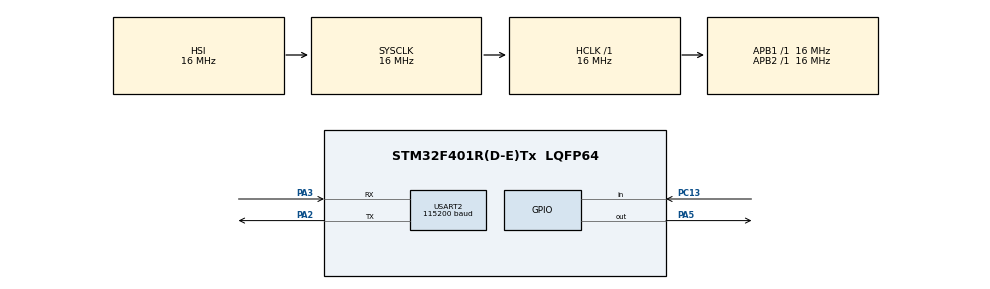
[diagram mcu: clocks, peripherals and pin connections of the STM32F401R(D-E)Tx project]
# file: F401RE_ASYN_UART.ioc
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FREERTOS.Queues01=messageQueue,30,queueMess_t,0,Dynamic,NULL,NULL
FREERTOS.Tasks01=receiveData,24,128,StartreceiveDataTask,Default,NULL,Dynamic,NULL,NULL;parseData,8,128,StartParseDataTask,Default,NULL,Dynamic,NULL,NULL;ledControl,8,128,StartledControl,Default,NULL,Dynamic,NULL,NULL
FREERTOS.configUSE_NEWLIB_REENTRANT=1
Mcu.Family=STM32F4
Mcu.Name=STM32F401R(D-E)Tx
Mcu.Package=LQFP64
NVIC.PriorityGroup=NVIC_PRIORITYGROUP_4
PA2.Mode=Asynchronous
PA2.Signal=USART2_TX
PA3.Mode=Asynchronous
PA3.Signal=USART2_RX
PA5.Signal=GPIO_Output
PC13-ANTI_TAMP.Signal=GPIO_Input
ProjectManager.HeapSize=0x200
ProjectManager.StackSize=0x400
ProjectManager.TargetToolchain=STM32CubeIDE
RCC.AHBFreq_Value=16000000
RCC.APB1Freq_Value=16000000
RCC.APB2Freq_Value=16000000
RCC.CortexFreq_Value=16000000
RCC.HSE_VALUE=25000000
RCC.HSI_VALUE=16000000
RCC.LSE_VALUE=32768
RCC.SYSCLKFreq_VALUE=16000000
RCC.VCOOutputFreq_Value=192000000
USART2.BaudRate=115200
USART2.OverSampling=UART_OVERSAMPLING_16
USART2.VirtualMode=VM_ASYNC
VP_FREERTOS_VS_CMSIS_V2.Mode=CMSIS_V2
board=custom

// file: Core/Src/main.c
/* USER CODE BEGIN Header */
/**
  ******************************************************************************
  * @file           : main.c
  * @brief          : Main program body
  ******************************************************************************
  * @attention
  *
  * Copyright (c) 2025 STMicroelectronics.
  * All rights reserved.
  *
  * This software is licensed under terms that can be found in the LICENSE file
  * in the root directory of this software component.
  * If no LICENSE file comes with this software, it is provided AS-IS.
  *
  ******************************************************************************
  */
/* USER CODE END Header */
#include "main.h"
#include "cmsis_os.h"

/* USER CODE BEGIN Includes */
#include "string.h"
#include "stdlib.h"
/* USER CODE END Includes */

/* USER CODE BEGIN PTD */

typedef uint8_t		bool;
typedef uint32_t	blinkInterval;

typedef struct {
	bool			isOn;
	blinkInterval	blinkInt;
} ledStatus_t;

typedef struct {
	uint8_t	 messg[256];
	uint16_t len;
} queueMess_t;

/* USER CODE END PTD */

/* USER CODE BEGIN PD */

#define TX_TIMEOUT   	50
#define RX_TIMEOUT   	500
#define QUEUE_TIMEOUT	50
#define MSSG_LENGTHS 	256

char* name = 		"\n\n\r ___      _______  ______     _______  ___      ___   __    _  ___   _  _______  ______   \n\r"
					"|   |    |       ||      |   |  _    ||   |    |   | |  |  | ||   | | ||       ||    _ |  \n\r"
					"|   |    |    ___||  _    |  | |_|   ||   |    |   | |   |_| ||   |_| ||    ___||   | ||  \n\r"
					"|   |    |   |___ | | |   |  |       ||   |    |   | |       ||      _||   |___ |   |_||_ \n\r"
					"|   |___ |    ___|| |_|   |  |  _   | |   |___ |   | |  _    ||     |_ |    ___||    __  |\n\r"
					"|       ||   |___ |       |  | |_|   ||       ||   | | | |   ||    _  ||   |___ |   |  | |\n\r"
					"|_______||_______||______|   |_______||_______||___| |_|  |__||___| |_||_______||___|  |_|\n\n\n\r";

char* instrucrin ="\n\n\rCommand for communication and control LED ON, LED OFF, LED BLINK <TIME>, STATUS.\n\n\r";

/* USER CODE END PD */

UART_HandleTypeDef huart2;

/* Definitions for receiveData */
osThreadId_t receiveDataHandle;
const osThreadAttr_t receiveData_attributes = {
  .name = "receiveData",
  .stack_size = 128 * 4,
  .priority = (osPriority_t) osPriorityNormal,
};
/* Definitions for parseData */
osThreadId_t parseDataHandle;
const osThreadAttr_t parseData_attributes = {
  .name = "parseData",
  .stack_size = 128 * 4,
  .priority = (osPriority_t) osPriorityLow,
};
/* Definitions for ledControl */
osThreadId_t ledControlHandle;
const osThreadAttr_t ledControl_attributes = {
  .name = "ledControl",
  .stack_size = 128 * 4,
  .priority = (osPriority_t) osPriorityLow,
};
/* Definitions for messageQueue */
osMessageQueueId_t messageQueueHandle;
const osMessageQueueAttr_t messageQueue_attributes = {
  .name = "messageQueue"
};

void SystemClock_Config(void);
static void MX_GPIO_Init(void);
static void MX_USART2_UART_Init(void);
void StartreceiveDataTask(void *argument);
void StartParseDataTask(void *argument);
void StartledControl(void *argument);

/* USER CODE BEGIN 0 */

ledStatus_t	ledStatus;

/* USER CODE END 0 */

int main(void)
{
  /* USER CODE BEGIN 1 */

	ledStatus.isOn		= 0;
	ledStatus.blinkInt	= 1000;

  /* USER CODE END 1 */

  /* MCU Configuration--------------------------------------------------------*/

  /* Reset of all peripherals, Initializes the Flash interface and the Systick. */
  HAL_Init();

  /* Configure the system clock */
  SystemClock_Config();

  /* Initialize all configured peripherals */
  MX_GPIO_Init();
  MX_USART2_UART_Init();

  /* Init scheduler */
  osKernelInitialize();

  /* Create the queue(s) */
  /* creation of messageQueue */
  messageQueueHandle = osMessageQueueNew (30, sizeof(queueMess_t), &messageQueue_attributes);

  /* Create the thread(s) */
  /* creation of receiveData */
  receiveDataHandle = osThreadNew(StartreceiveDataTask, NULL, &receiveData_attributes);

  /* creation of parseData */
  parseDataHandle = osThreadNew(StartParseDataTask, NULL, &parseData_attributes);

  /* creation of ledControl */
  ledControlHandle = osThreadNew(StartledControl, NULL, &ledControl_attributes);

  /* USER CODE BEGIN RTOS_THREADS */
  /* add threads, ... */
  HAL_UART_Transmit(&huart2, (const uint8_t*)name, strlen(name), TX_TIMEOUT);
  HAL_UART_Transmit(&huart2, (const uint8_t*)instrucrin, strlen(instrucrin), TX_TIMEOUT);
  /* USER CODE END RTOS_THREADS */

  /* Start scheduler */
  osKernelStart();
  /* We should never get here as control is now taken by the scheduler */
  /* Infinite loop */
  while (1)
  {

  }
}

void SystemClock_Config(void)
{
  RCC_OscInitTypeDef RCC_OscInitStruct = {0};
  RCC_ClkInitTypeDef RCC_ClkInitStruct = {0};

  /** Configure the main internal regulator output voltage
  */
  __HAL_RCC_PWR_CLK_ENABLE();
  __HAL_PWR_VOLTAGESCALING_CONFIG(PWR_REGULATOR_VOLTAGE_SCALE2);

  /** Initializes the RCC Oscillators according to the specified parameters
  * in the RCC_OscInitTypeDef structure.
  */
  RCC_OscInitStruct.OscillatorType = RCC_OSCILLATORTYPE_HSI;
  RCC_OscInitStruct.HSIState = RCC_HSI_ON;
  RCC_OscInitStruct.HSICalibrationValue = RCC_HSICALIBRATION_DEFAULT;
  RCC_OscInitStruct.PLL.PLLState = RCC_PLL_NONE;
  if (HAL_RCC_OscConfig(&RCC_OscInitStruct) != HAL_OK)
  {
    Error_Handler();
  }

  /** Initializes the CPU, AHB and APB buses clocks
  */
  RCC_ClkInitStruct.ClockType = RCC_CLOCKTYPE_HCLK|RCC_CLOCKTYPE_SYSCLK
                              |RCC_CLOCKTYPE_PCLK1|RCC_CLOCKTYPE_PCLK2;
  RCC_ClkInitStruct.SYSCLKSource = RCC_SYSCLKSOURCE_HSI;
  RCC_ClkInitStruct.AHBCLKDivider = RCC_SYSCLK_DIV1;
  RCC_ClkInitStruct.APB1CLKDivider = RCC_HCLK_DIV1;
  RCC_ClkInitStruct.APB2CLKDivider = RCC_HCLK_DIV1;

  if (HAL_RCC_ClockConfig(&RCC_ClkInitStruct, FLASH_LATENCY_0) != HAL_OK)
  {
    Error_Handler();
  }
}

static void MX_USART2_UART_Init(void)
{

  huart2.Instance = USART2;
  huart2.Init.BaudRate = 115200;
  huart2.Init.WordLength = UART_WORDLENGTH_8B;
  huart2.Init.StopBits = UART_STOPBITS_1;
  huart2.Init.Parity = UART_PARITY_NONE;
  huart2.Init.Mode = UART_MODE_TX_RX;
  huart2.Init.HwFlowCtl = UART_HWCONTROL_NONE;
  huart2.Init.OverSampling = UART_OVERSAMPLING_16;
  if (HAL_UART_Init(&huart2) != HAL_OK)
  {
    Error_Handler();
  }

}

static void MX_GPIO_Init(void)
{
  GPIO_InitTypeDef GPIO_InitStruct = {0};

  /* GPIO Ports Clock Enable */
  __HAL_RCC_GPIOC_CLK_ENABLE();
  __HAL_RCC_GPIOA_CLK_ENABLE();

  /*Configure GPIO pin Output Level */
  HAL_GPIO_WritePin(GPIOA, GPIO_PIN_5, GPIO_PIN_RESET);

  /*Configure GPIO pin : PC13 */
  GPIO_InitStruct.Pin = GPIO_PIN_13;
  GPIO_InitStruct.Mode = GPIO_MODE_INPUT;
  GPIO_InitStruct.Pull = GPIO_NOPULL;
  HAL_GPIO_Init(GPIOC, &GPIO_InitStruct);

  /*Configure GPIO pin : PA5 */
  GPIO_InitStruct.Pin = GPIO_PIN_5;
  GPIO_InitStruct.Mode = GPIO_MODE_OUTPUT_PP;
  GPIO_InitStruct.Pull = GPIO_NOPULL;
  GPIO_InitStruct.Speed = GPIO_SPEED_FREQ_LOW;
  HAL_GPIO_Init(GPIOA, &GPIO_InitStruct);

}

/* USER CODE BEGIN Header_StartreceiveDataTask */
/**
  * @brief  Function implaementing the receiveData thread.
  * @param  argument: Not used
  * @retval None
  */
/* USER CODE END Header_StartreceiveDataTask */
void StartreceiveDataTask(void *argument)
{
  /* USER CODE BEGIN 5 */
	  HAL_StatusTypeDef	status;
	  uint16_t			buffLen;
	  uint8_t			mssgBuff[256];

	  memset(mssgBuff, '\0', MSSG_LENGTHS);
	  for(;;)
	  {
		if ((status=HAL_UART_Receive(&huart2, mssgBuff, sizeof(uint8_t)*MSSG_LENGTHS, RX_TIMEOUT)) == HAL_OK || status == HAL_TIMEOUT)
		{
			if ((buffLen=strlen((const char*)mssgBuff)))
			{
				queueMess_t mssgCnt;

				mssgCnt.len = buffLen;
				memcpy(mssgCnt.messg, mssgBuff, MSSG_LENGTHS);

				if (!osMessageQueuePut(messageQueueHandle, &mssgCnt, 0, QUEUE_TIMEOUT))
				{
//					char*	str = "UART Reciver task : message put in queue.\n\r";
//					HAL_UART_Transmit(&huart2, (const uint8_t*)str, strlen(str), TX_TIMEOUT);
					memset(mssgBuff, '\0', MSSG_LENGTHS);
				}
			}
		}
		else if (status == HAL_BUSY)
		{
			char*	bussy = "UART Reciver task : UART port was bussy\n\r";
			HAL_UART_Transmit(&huart2, (const uint8_t*)bussy, strlen(bussy), TX_TIMEOUT);
		}
		else if (status == HAL_ERROR)
		{
			char*	bussy = "UART Reciver task : unexpected error while receiving data from UART\n\r";
			HAL_UART_Transmit(&huart2, (const uint8_t*)bussy, strlen(bussy), TX_TIMEOUT);
			Error_Handler();
		}
	    osDelay(50);
	  }
  /* USER CODE END 5 */
}

void StartParseDataTask(void *argument)
{
  /* USER CODE BEGIN StartParseDataTask */
  /* Infinite loop */
  for(;;)
  {
	  char*	pBuff;
	  queueMess_t mssgCnt;

	  mssgCnt.len = 0;
	  memset(mssgCnt.messg, '\0', MSSG_LENGTHS);

	  if (!osMessageQueueGet(messageQueueHandle, &mssgCnt, 0, QUEUE_TIMEOUT))
	  {

//		  char* func = "Parse task : Item are geted \n\r";
//		  HAL_UART_Transmit(&huart2, mssgCnt.messg, sizeof(uint8_t)*mssgCnt.len, TX_TIMEOUT);
//		  char* str = "\n\r";
//		  HAL_UART_Transmit(&huart2, (const uint8_t*)func, strlen(func), TX_TIMEOUT);

		  pBuff = (char*) mssgCnt.messg;

		  if (!strcmp(pBuff, "LED ON\r"))
		  {
			  char* str = "\n\r-------------------\n\rLed is on now.\n\r-------------------\n\n\r";
		  	  HAL_UART_Transmit(&huart2, (uint8_t *)str, strlen (str), 500);
		  	  ledStatus.isOn = 1;
		  }
		  else if (!strcmp(pBuff, "LED OFF\r"))
		  {
			  char* str = "\n\r-------------------\n\rLed is off now.\n\r-------------------\n\n\r";
		  	  HAL_UART_Transmit(&huart2, (uint8_t *)str, strlen (str), 500);
			  ledStatus.isOn = 0;
		  }
		  else if (!strncmp(pBuff, "LED BLINK ", 10))
		  {
			  uint16_t blinkRate;

			  blinkRate = atoi(pBuff + 10);
		  	  ledStatus.blinkInt = blinkRate;

			  char* str = "\n\r-------------------\n\rBlink rate : ";
			  char* str1 = "\n\r-------------------\n\n\r";
		  	  HAL_UART_Transmit(&huart2, (uint8_t *)str, strlen (str), 500);
		  	  HAL_UART_Transmit(&huart2, (uint8_t *)(pBuff + 10), strlen (pBuff + 10), 500);
		  	  HAL_UART_Transmit(&huart2, (uint8_t *)str1, strlen (str1), 500);
		  }
		  else if (!strcmp(pBuff, "STATUS\r"))
		  {
			  uint8_t numb[15];
		  	  char*		ledIs;
		  	  char* 	str0 = "\n\r-------------------\n\n\r";
		  	  char* 	str1 = "\n\r-------------------\n\rStatus :\n\rled is : on\n\rblink interval : ";
		  	  char* 	str2 = "\n\r-------------------\n\rStatus :\n\rled is : off\n\rblink interval : ";

		  	  memset(numb, '\0', 10);
		  	  ledIs = (ledStatus.isOn) ? str1 : str2;
		  	  itoa((int)ledStatus.blinkInt, (char*)numb, 10);

		  	  HAL_UART_Transmit(&huart2, (uint8_t *)ledIs, strlen (ledIs), 500);
		  	  HAL_UART_Transmit(&huart2, (uint8_t *)numb, strlen ((const char*)numb), 500);
		  	  HAL_UART_Transmit(&huart2, (uint8_t *)str0, strlen (str0), 500);
		  }
		  else
		  {
			  char*	 str = "\n\n\rCommand not correct ::\n\rCheck spaces in word\n\rCorrect command LED ON, LED OFF, LED BLINK <TIME>, STATUS\n\n\r";
		  	  HAL_UART_Transmit(&huart2, (uint8_t *)str, strlen (str), 500);
		  }

	  }
    osDelay(1000);
  }
  /* USER CODE END StartParseDataTask */
}

void StartledControl(void *argument)
{
  /* USER CODE BEGIN StartledControl */
  /* Infinite loop */
  uint32_t tick;

  for(;;)
  {
	tick = 1000;
	if (ledStatus.blinkInt > 15 && ledStatus.isOn)
	{
		HAL_GPIO_TogglePin(GPIOA, GPIO_PIN_5);
	tick = ledStatus.blinkInt;
	}
	else
	{
		if (ledStatus.isOn)
			HAL_GPIO_WritePin(GPIOA, GPIO_PIN_5, 1);
		else
			HAL_GPIO_WritePin(GPIOA, GPIO_PIN_5, 0);
	}
    osDelay(tick);
  }
  /* USER CODE END StartledControl */
}

void Error_Handler(void)
{
  __disable_irq();
  while (1)
  {
  }
}
